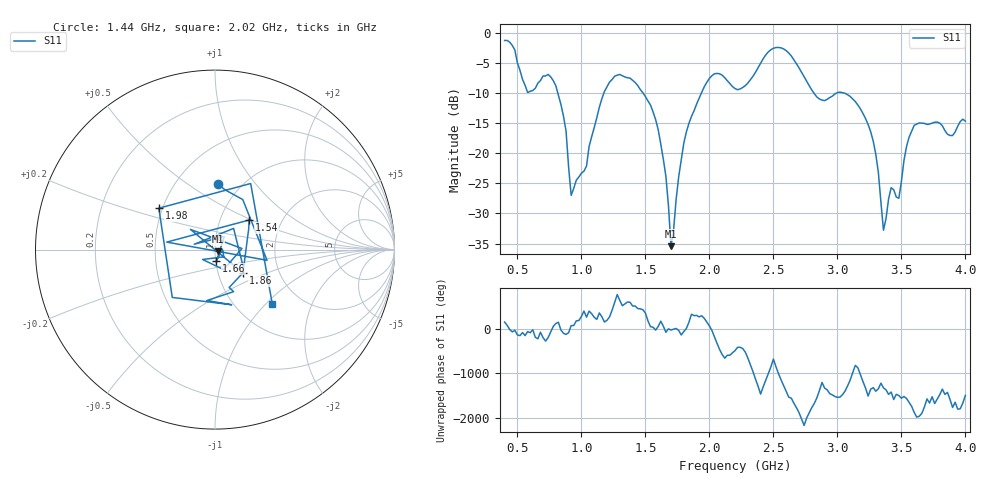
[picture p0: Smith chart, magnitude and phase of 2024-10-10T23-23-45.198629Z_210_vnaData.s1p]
! Created with skrf (http://scikit-rf.org).
# Hz S RI R 50.0
!freq ReS11 ImS11
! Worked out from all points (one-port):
!   181 points, 400 MHz to 4 GHz, reference 50 ohm
!   lowest |S11| = -35.4 dB at 1.7 GHz (marker M1), VSWR 1.03, Z = 51.4 - j0.922 ohm
!   |S11| at or under -10 dB: 815.5 MHz to 1.175 GHz (360 MHz wide, 36.2 % of centre); 1.482 GHz to 1.937 GHz (455.1 MHz wide, 26.6 % of centre); 3.054 GHz to end of sweep (the widest 3 of 4)
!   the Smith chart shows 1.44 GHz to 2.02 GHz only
!   S11 on the Smith chart (normalised r, x): 1.44 GHz: 0.79, +0.67; 1.54 GHz: 1.37, +0.48; 1.66 GHz: 1.01, -0.13; 1.86 GHz: 1.31, -0.36; 1.98 GHz: 0.48, +0.26; 2.02 GHz: 1.45, -1.10
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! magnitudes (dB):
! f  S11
! 400 MHz  -1.3
! 480 MHz  -2.8
! 580 MHz  -9.9
! 760 MHz  -7.3
! 860 MHz  -13.8
! 920 MHz  -27.0
! 1.04 GHz  -22.1
! 1.18 GHz  -9.7
! 1.3 GHz  -6.9
! 1.44 GHz  -8.7
! 1.54 GHz  -12.0
! 1.66 GHz  -23.8
! 1.7 GHz  -35.4
! 1.76 GHz  -23.9
! 1.86 GHz  -13.9
! 1.98 GHz  -8.2
! 2.02 GHz  -7.1
! 2.2 GHz  -9.2
! 2.5 GHz  -2.6
! 2.66 GHz  -4.5
! 2.86 GHz  -11.0
! 3.1 GHz  -10.6
! 3.28 GHz  -18.0
! 3.36 GHz  -32.8
! 3.42 GHz  -25.7
! 3.48 GHz  -27.5
! 3.56 GHz  -17.3
! 4 GHz  -14.7
